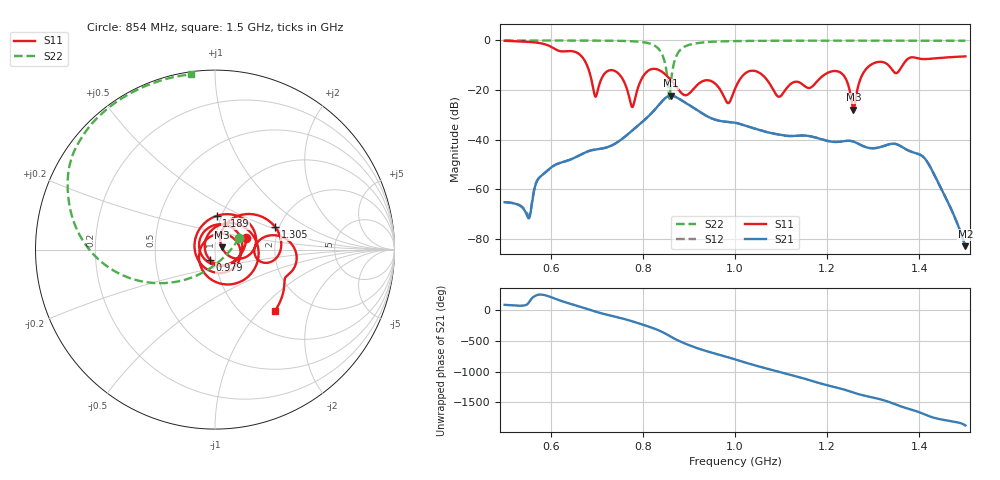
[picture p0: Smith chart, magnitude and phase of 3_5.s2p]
! TOUCHSTONE file generated by CST MICROWAVE STUDIO
! Date and time: Mon Nov 30 08:41:58 2020
! Project name: Scenario_1_Planar_Body_Tissue_Out_of_Line.cst
! Parameters = {dy1=-311.4; L_HA=400; Ltissue=700; MT=2.54; Rad_Dielectric=30; Rad_Lower=7.3; Rad_Upper=30; Wtissue=700; a_HA=580; a_WG=246; b_HA=500; b_WG=121; c_HA=0; c_WG=187; d_feed=85; dx1=866; h_feed=15; h_lower=18; h_upper=40; hfat=3; hgap=25; hmuscle=50; hskin=1.5}
! Header version: 2018
! Port assignment regex: !\s*Touchstone port\s*([0-9]+)\s*=\s*(CST MWS port|CST DS port)\s*([0-9]+|Zmin|Zmax)\s*\(\"(.*)\"\)(\s*mode\s*([0-9]+))?.*
! Touchstone port assignment:
! Touchstone port 1 = CST MWS port 1 ("")
! Touchstone port 2 = CST MWS port 2 ("")
# GHz S DB R 50
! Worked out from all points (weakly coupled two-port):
!   1003 points, 500 MHz to 1.5 GHz, reference 50 ohm
!   highest |S21| = -22.24 dB at 861 MHz (marker M1); lowest = -82.9 dB at 1.5 GHz (marker M2)
!   lowest |S11| = -27.9 dB at 1.257 GHz (marker M3), VSWR 1.08, Z = 53.9 + j1.42 ohm
!   |S11| at or under -10 dB: 678.8 MHz to 1.293 GHz (614.6 MHz wide, 62.3 % of centre); 1.333 GHz to 1.364 GHz (30.7 MHz wide, 2.28 % of centre)
!   |S22| runs from -23.5 to 0.0 dB; largest |S21 - S12| = 5e-05
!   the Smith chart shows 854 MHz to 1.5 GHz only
!   S11 on the Smith chart (normalised r, x): 854 MHz: 1.41, +0.19; 979 MHz: 0.94, -0.11; 1.189 GHz: 0.95, +0.37; 1.305 GHz: 1.91, +0.55; 1.5 GHz: 1.38, -1.22
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0.5  -0.13 -122.1  -65.18 83.5  -65.18 83.5  -0.01 151.1
0.552  -0.60 -146.6  -71.69 115.9  -70.74 113.9  -0.01 147.6
0.576  -1.07 -162.1  -55.16 -109.8  -55.12 -109.8  -0.02 145.9
0.667  -6.38 125.1  -45.83 46.4  -45.83 46.4  -0.04 138.4
0.697  -22.69 137.2  -43.97 -26.0  -43.97 -26.0  -0.06 135.2
0.736  -12.08 141.5  -41.98 -101.7  -41.98 -101.7  -0.13 129.9
0.777  -26.87 139.5  -36.31 176.4  -36.31 176.4  -0.33 121.1
0.834  -11.85 76.7  -26.16 30.6  -26.16 30.6  -3.37 83.6
0.854  -14.61 20.4  -22.56 -44.6  -22.56 -44.6  -16.50 25.9
0.861  -16.01 -0.6  -22.24 -74.6  -22.24 -74.6  -16.95 -117.2
0.886  -21.57 -98.5  -24.35 -167.2  -24.35 -167.2  -3.03 179.5
0.979  -23.86 -114.6  -32.73 -33.5  -32.73 -33.5  -0.33 143.2
1  -19.52 102.8  -33.16 -81.6  -33.16 -81.6  -0.27 140.2
1.037  -12.18 -14.0  -35.20 -165.1  -35.20 -165.1  -0.18 135.8
1.167  -18.65 167.9  -38.76 -72.2  -38.76 -72.2  -0.10 124.2
1.189  -14.52 87.3  -39.88 -119.3  -39.89 -119.3  -0.09 122.5
1.232  -13.36 -0.3  -40.71 159.0  -40.71 159.0  -0.08 119.2
1.257  -27.91 19.1  -40.76 99.8  -40.76 99.8  -0.09 117.3
1.305  -8.91 20.3  -43.38 9.4  -43.38 9.4  -0.08 113.7
1.334  -10.19 -13.5  -41.86 -51.8  -41.86 -51.8  -0.09 111.5
1.413  -7.51 -22.4  -47.84 100.2  -47.84 100.2  -0.10 105.3
1.5  -6.43 -45.4  -82.91 -73.9  -82.90 -74.1  -0.13 97.9
